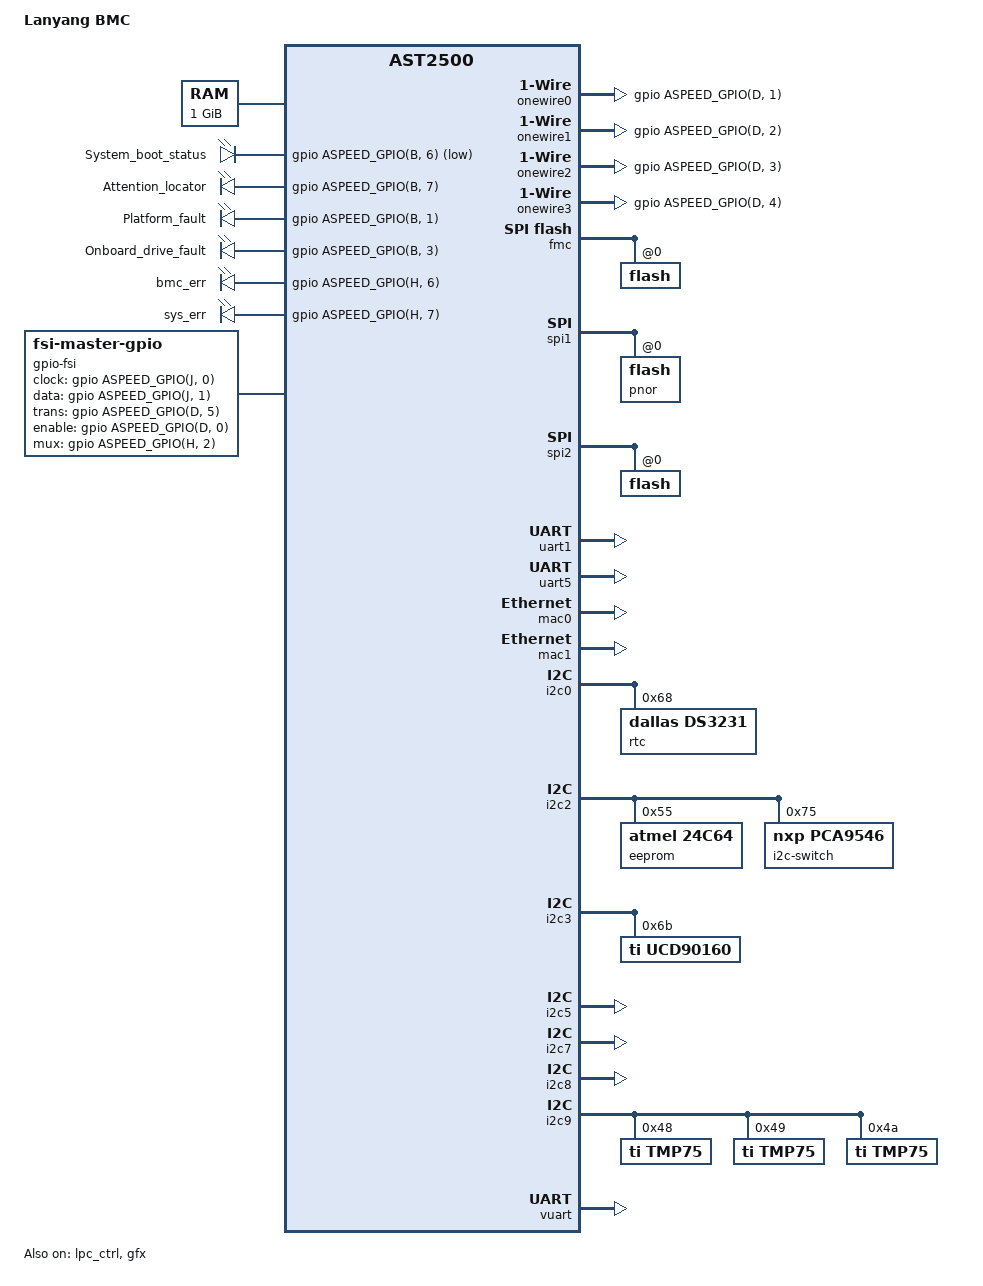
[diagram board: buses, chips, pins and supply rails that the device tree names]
/dts-v1/;

#include "aspeed-g5.dtsi"
#include <dt-bindings/gpio/aspeed-gpio.h>

/ {
	model = "Lanyang BMC";
	compatible = "inventec,lanyang-bmc", "aspeed,ast2500";

	aliases {
		serial4 = &uart5;
	};

	chosen {
		stdout-path = &uart5;
		bootargs = "console=ttyS4,115200 earlyprintk";
	};

	memory {
		reg = <0x80000000 0x40000000>;
	};

	reserved-memory {
		#address-cells = <1>;
		#size-cells = <1>;
		ranges;

		flash_memory: region@98000000 {
			no-map;
			reg = <0x98000000 0x04000000>; /* 64M */
		};
	};

	onewire0 {
		compatible = "w1-gpio";
		gpios = <&gpio ASPEED_GPIO(D, 1) GPIO_ACTIVE_HIGH>;
	};

	onewire1 {
		compatible = "w1-gpio";
		gpios = <&gpio ASPEED_GPIO(D, 2) GPIO_ACTIVE_HIGH>;
	};

	onewire2 {
		compatible = "w1-gpio";
		gpios = <&gpio ASPEED_GPIO(D, 3) GPIO_ACTIVE_HIGH>;
	};

	onewire3 {
		compatible = "w1-gpio";
		gpios = <&gpio ASPEED_GPIO(D, 4) GPIO_ACTIVE_HIGH>;
	};

	leds {
		compatible = "gpio-leds";

		sys_boot_status {
			label = "System_boot_status";
			gpios = <&gpio ASPEED_GPIO(B, 6) GPIO_ACTIVE_LOW>;
		};

		attention {
			label = "Attention_locator";
			gpios = <&gpio ASPEED_GPIO(B, 7) GPIO_ACTIVE_HIGH>;
		};

		plt_fault {
			label = "Platform_fault";
			gpios = <&gpio ASPEED_GPIO(B, 1) GPIO_ACTIVE_HIGH>;
		};

		hdd_fault {
			label = "Onboard_drive_fault";
			gpios = <&gpio ASPEED_GPIO(B, 3) GPIO_ACTIVE_HIGH>;
		};
		bmc_err {
			lable = "BMC_fault";
			gpios = <&gpio ASPEED_GPIO(H, 6) GPIO_ACTIVE_HIGH>;
		};

		sys_err {
			lable = "Sys_fault";
			gpios = <&gpio ASPEED_GPIO(H, 7) GPIO_ACTIVE_HIGH>;
		};
	};

	gpio-fsi {
		compatible = "fsi-master-gpio", "fsi-master";

		clock-gpios = <&gpio ASPEED_GPIO(J, 0) GPIO_ACTIVE_HIGH>;
		data-gpios = <&gpio ASPEED_GPIO(J, 1) GPIO_ACTIVE_HIGH>;
		trans-gpios = <&gpio ASPEED_GPIO(D, 5) GPIO_ACTIVE_HIGH>;
		enable-gpios = <&gpio ASPEED_GPIO(D, 0) GPIO_ACTIVE_HIGH>;
		mux-gpios = <&gpio ASPEED_GPIO(H, 2) GPIO_ACTIVE_HIGH>;
	};
};

&fmc {
	status = "okay";
	flash@0 {
		status = "okay";
		m25p,fast-read;
#include "aspeed-bmc-opp-flash-layout.dtsi"
	};
};

&spi1 {
	status = "okay";
	pinctrl-names = "default";
	pinctrl-0 = <&pinctrl_spi1_default>;

	flash@0 {
		status = "okay";
		label = "pnor";
		m25p,fast-read;
	};
};

&spi2 {
	status = "okay";
	pinctrl-names = "default";
	pinctrl-0 = <&pinctrl_spi2ck_default
		     &pinctrl_spi2cs0_default
		     &pinctrl_spi2cs1_default
		     &pinctrl_spi2miso_default
		     &pinctrl_spi2mosi_default>;

	flash@0 {
		status = "okay";
	};
};

&uart1 {
	status = "okay";
	pinctrl-names = "default";
	pinctrl-0 = <&pinctrl_txd1_default
		     &pinctrl_rxd1_default>;
};

&lpc_ctrl {
	status = "okay";
	memory-region = <&flash_memory>;
	flash = <&spi1>;
};

&mbox {
	status = "okay";
};

&uart5 {
	status = "okay";
};

&mac0 {
	status = "okay";

	pinctrl-names = "default";
	pinctrl-0 = <&pinctrl_rmii1_default>;
	use-ncsi;
};

&mac1 {
	status = "okay";

	pinctrl-names = "default";
	pinctrl-0 = <&pinctrl_rgmii2_default &pinctrl_mdio2_default>;
};

&i2c0 {
	status = "okay";

	rtc@68 {
		compatible = "dallas,ds3231";
		reg = <0x68>;
	};

	/* RTC DS3231 @68h	 */
};

&i2c1 {
	status = "disable";

	/* APSS
	 * BCM5719
	 */
};

&i2c2 {
	status = "okay";

	/* AT24C64 @55h */
	eeprom@55 {
		compatible = "atmel,24c64";
		reg = <0x55>;
		pagesize = <32>;
	};

	/*
	 * PCA9546 @75h
	 *		bus0	48V MON LM5058 @41h
	 *				48V H-SWAP LM5058 @40h
	 *		bus1	P0 0V8 MON LM5058 @40h
	 *				P1 0V8 MON LM5058 @41h
	 *		bus2	P0 0V7 MON LM5058 @40h
	 *				P1 0V7 MON LM5058 @41h
	 *		bus3	P0 VDDQ0 MON LM5058 @40h
	 *				P0 VDDQ1 MON LM5058 @41h
	 *				P1 VDDQ0 MON LM5058 @42h
	 *				P1 VDDQ1 MON LM5058 @43h
	 */
	i2c-switch@75 {
		compatible = "nxp,pca9546";
		reg = <0x75>;
		#address-cells = <1>;
		#size-cells = <0>;
	};
};

&i2c3 {
	status = "okay";

	/* Power sequencer UCD90160 PMBUS @64h */
	ucd90160@64 {
		compatible = "ti,ucd90160";
		reg = <0x6B>;
	};
};

&i2c4 {
	status = "disabled";

	/* P0 FSP connecter */
};

&i2c5 {
	status = "okay";

	/* CPU0 0V96 IR38063 @41h */
	/* CPU1 0V96 IR38063 @42h */
	/* CPU0 1V0 IR38063 @40h */
	/* CPU1 1V0 IR38063 @43h */
};

&i2c6 {
	status = "disabled";

	/* P1 FSP connecter */
};

&i2c7 {
	status = "okay";

	/* CLK BUFF 9DBL0452 @6Dh */
	/* CLK GEN 9FGS9092 @6Bh */
};

&i2c8 {
	status = "okay";

};

&i2c9 {
	status = "okay";

	/* T-SENSOR TMP75 @48h */
	tmp75@48 {
		compatible = "ti,tmp75";
		reg = <0x48>;
	};

	/* T-SENSOR TMP75 @49h */
	tmp75@49 {
		compatible = "ti,tmp75";
		reg = <0x49>;
	};

	/* T-SENSOR TMP75 @4Ah */
	tmp75@4A {
		compatible = "ti,tmp75";
		reg = <0x4A>;
	};

	/* 12V Brick Q54SJ12050 @96h(TBD) */
};

&i2c10 {
	status = "disabled";
};

&i2c11 {
	status = "disabled";

	/* TPM connector @57h */
};

&i2c12 {
	status = "disabled";
};

&i2c13 {
	status = "disabled";
};

&vuart {
	status = "okay";
};

&gfx {
        status = "okay";
};

&pinctrl {
	aspeed,external-nodes = <&gfx &lhc>;
};
